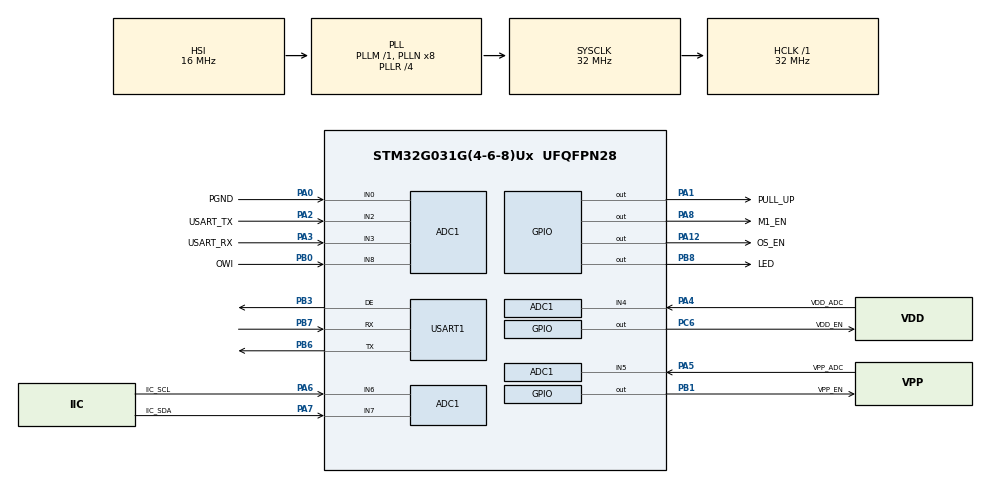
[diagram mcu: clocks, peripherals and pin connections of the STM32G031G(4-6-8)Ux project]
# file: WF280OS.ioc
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ADC1.Channel-0\#ChannelRegularConversion=ADC_CHANNEL_0
ADC1.Channel-1\#ChannelRegularConversion=ADC_CHANNEL_2
ADC1.Channel-2\#ChannelRegularConversion=ADC_CHANNEL_3
ADC1.Channel-3\#ChannelRegularConversion=ADC_CHANNEL_4
ADC1.Channel-4\#ChannelRegularConversion=ADC_CHANNEL_5
ADC1.Channel-5\#ChannelRegularConversion=ADC_CHANNEL_6
ADC1.Channel-6\#ChannelRegularConversion=ADC_CHANNEL_7
ADC1.Channel-7\#ChannelRegularConversion=ADC_CHANNEL_8
ADC1.ClockPrescaler=ADC_CLOCK_ASYNC_DIV1
ADC1.ContinuousConvMode=ENABLE
ADC1.DMAContinuousRequests=DISABLE
ADC1.NbrOfConversion=8
ADC1.NbrOfConversionFlag=1
ADC1.OversamplingMode=ENABLE
ADC1.Rank-0\#ChannelRegularConversion=1
ADC1.Rank-1\#ChannelRegularConversion=2
ADC1.Rank-2\#ChannelRegularConversion=3
ADC1.Rank-3\#ChannelRegularConversion=4
ADC1.Rank-4\#ChannelRegularConversion=5
ADC1.Rank-5\#ChannelRegularConversion=6
ADC1.Rank-6\#ChannelRegularConversion=7
ADC1.Rank-7\#ChannelRegularConversion=8
ADC1.Ratio=ADC_OVERSAMPLING_RATIO_256
ADC1.RightBitShift=ADC_RIGHTBITSHIFT_4
ADC1.SamplingTime-0\#ChannelRegularConversion=ADC_SAMPLINGTIME_COMMON_1
ADC1.SamplingTime-1\#ChannelRegularConversion=ADC_SAMPLINGTIME_COMMON_1
ADC1.SamplingTime-2\#ChannelRegularConversion=ADC_SAMPLINGTIME_COMMON_1
ADC1.SamplingTime-3\#ChannelRegularConversion=ADC_SAMPLINGTIME_COMMON_1
ADC1.SamplingTime-4\#ChannelRegularConversion=ADC_SAMPLINGTIME_COMMON_1
ADC1.SamplingTime-5\#ChannelRegularConversion=ADC_SAMPLINGTIME_COMMON_1
ADC1.SamplingTime-6\#ChannelRegularConversion=ADC_SAMPLINGTIME_COMMON_1
ADC1.SamplingTime-7\#ChannelRegularConversion=ADC_SAMPLINGTIME_COMMON_1
ADC1.SamplingTimeCommon1=ADC_SAMPLETIME_160CYCLES_5
ADC1.SamplingTimeCommon2=ADC_SAMPLETIME_160CYCLES_5
ADC1.SelectedChannel=ADC_CHANNEL_0|ADC_CHANNEL_2|ADC_CHANNEL_3|ADC_CHANNEL_4|ADC_CHANNEL_5|ADC_CHANNEL_6|ADC_CHANNEL_7|ADC_CHANNEL_8
ADC1.master=1
Dma.ADC1.0.Direction=DMA_PERIPH_TO_MEMORY
Dma.ADC1.0.EventEnable=DISABLE
Dma.ADC1.0.Instance=DMA1_Channel1
Dma.ADC1.0.MemDataAlignment=DMA_MDATAALIGN_WORD
Dma.ADC1.0.MemInc=DMA_MINC_ENABLE
Dma.ADC1.0.Mode=DMA_NORMAL
Dma.ADC1.0.PeriphDataAlignment=DMA_PDATAALIGN_WORD
Dma.ADC1.0.PeriphInc=DMA_PINC_DISABLE
Dma.ADC1.0.Polarity=HAL_DMAMUX_REQ_GEN_RISING
Dma.ADC1.0.Priority=DMA_PRIORITY_VERY_HIGH
Dma.ADC1.0.RequestNumber=1
Dma.ADC1.0.SignalID=NONE
Dma.ADC1.0.SyncEnable=DISABLE
Dma.ADC1.0.SyncPolarity=HAL_DMAMUX_SYNC_NO_EVENT
Dma.ADC1.0.SyncRequestNumber=1
Dma.ADC1.0.SyncSignalID=NONE
Dma.Request0=ADC1
FREERTOS.Tasks01=defaultTask,0,128,StartDefaultTask,Default,NULL,Dynamic,NULL,NULL;ModbusTask,-3,128,StartModbusTask,Default,NULL,Dynamic,NULL,NULL
Mcu.Family=STM32G0
Mcu.Name=STM32G031G(4-6-8)Ux
Mcu.Package=UFQFPN28
NVIC.DMA1_Channel1_IRQn=true\:3\:0\:false\:false\:true\:true\:false\:true\:true
NVIC.TIM14_IRQn=true\:3\:0\:false\:false\:true\:false\:false\:true\:true
NVIC.TIM3_IRQn=true\:3\:0\:false\:false\:true\:true\:true\:true\:true
NVIC.TimeBase=TIM14_IRQn
NVIC.TimeBaseIP=TIM14
NVIC.USART1_IRQn=true\:3\:0\:false\:false\:true\:true\:true\:true\:true
PA0.GPIO_Label=PGND
PA0.Mode=IN0
PA0.Signal=ADC1_IN0
PA1.GPIO_Label=PULL_UP
PA1.Signal=GPIO_Output
PA12\ [PA10].GPIO_Label=OS_EN
PA12\ [PA10].Signal=GPIO_Output
PA13.Mode=Serial_Wire
PA13.Signal=SYS_SWDIO
PA14-BOOT0.Mode=Serial_Wire
PA14-BOOT0.Signal=SYS_SWCLK
PA2.GPIO_Label=USART_TX
PA2.Mode=IN2
PA2.Signal=ADC1_IN2
PA3.GPIO_Label=USART_RX
PA3.Mode=IN3
PA3.Signal=ADC1_IN3
PA4.GPIO_Label=VDD_ADC
PA4.Mode=IN4
PA4.Signal=ADC1_IN4
PA5.GPIO_Label=VPP_ADC
PA5.Mode=IN5
PA5.Signal=ADC1_IN5
PA6.GPIO_Label=IIC_SCL
PA6.Mode=IN6
PA6.Signal=ADC1_IN6
PA7.GPIO_Label=IIC_SDA
PA7.Mode=IN7
PA7.Signal=ADC1_IN7
PA8.GPIO_Label=M1_EN
PA8.GPIO_ModeDefaultOutputPP=GPIO_MODE_OUTPUT_OD
PA8.GPIO_PuPd=GPIO_NOPULL
PA8.Signal=GPIO_Output
PB0.GPIO_Label=OWI
PB0.Mode=IN8
PB0.Signal=ADC1_IN8
PB1.GPIO_Label=VPP_EN
PB1.Signal=GPIO_Output
PB3.Mode=Hardware Flow Control (RS485)
PB3.Signal=USART1_DE
PB6.Mode=Asynchronous
PB6.Signal=USART1_TX
PB7.Mode=Asynchronous
PB7.Signal=USART1_RX
PB8.GPIO_Label=LED
PB8.Signal=GPIO_Output
PC6.GPIO_Label=VDD_EN
PC6.Signal=GPIO_Output
ProjectManager.HeapSize=0x200
ProjectManager.StackSize=0x400
ProjectManager.TargetToolchain=MDK-ARM V5.32
RCC.ADCFreq_Value=32000000
RCC.AHBFreq_Value=32000000
RCC.CortexFreq_Value=32000000
RCC.EXTERNAL_CLOCK_VALUE=12288000
RCC.HCLKFreq_Value=32000000
RCC.HSE_VALUE=8000000
RCC.HSI_VALUE=16000000
RCC.LSE_VALUE=32768
RCC.PLLP=RCC_PLLP_DIV4
RCC.PLLQ=RCC_PLLQ_DIV4
RCC.PLLR=RCC_PLLR_DIV4
RCC.SYSCLKFreq_VALUE=32000000
RCC.SYSCLKSource=RCC_SYSCLKSOURCE_PLLCLK
RCC.VCOOutputFreq_Value=128000000
TIM1.Prescaler=64-1
TIM2.Prescaler=64-1
TIM3.Prescaler=64-1
USART1.VirtualMode-Asynchronous=VM_ASYNC
USART1.VirtualMode-Hardware\ Flow\ Control\ (RS485)=VM_ASYNC
VP_FREERTOS_VS_CMSIS_V1.Mode=CMSIS_V1
VP_SYS_VS_tim14.Mode=TIM14
VP_TIM1_VS_ClockSourceINT.Mode=Internal
VP_TIM2_VS_ClockSourceINT.Mode=Internal
VP_TIM3_VS_ClockSourceINT.Mode=Internal
board=custom

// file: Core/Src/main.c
/* USER CODE BEGIN Header */
/**
  ******************************************************************************
  * @file           : main.c
  * @brief          : Main program body
  ******************************************************************************
  * @attention
  *
  * Copyright (c) 2026 STMicroelectronics.
  * All rights reserved.
  *
  * This software is licensed under terms that can be found in the LICENSE file
  * in the root directory of this software component.
  * If no LICENSE file comes with this software, it is provided AS-IS.
  *
  ******************************************************************************
  */
/* USER CODE END Header */
#include "main.h"
#include "cmsis_os.h"
#include "adc.h"
#include "dma.h"
#include "tim.h"
#include "usart.h"
#include "gpio.h"

void SystemClock_Config(void);
void MX_FREERTOS_Init(void);

int main(void)
{

  /* MCU Configuration--------------------------------------------------------*/

  /* Reset of all peripherals, Initializes the Flash interface and the Systick. */
  HAL_Init();

  /* Configure the system clock */
  SystemClock_Config();

  /* Initialize all configured peripherals */
  MX_GPIO_Init();
  MX_DMA_Init();
  MX_ADC1_Init();
  MX_USART1_UART_Init();
  MX_TIM1_Init();
  MX_TIM2_Init();
  MX_TIM3_Init();
  /* USER CODE BEGIN 2 */
	HAL_ADCEx_Calibration_Start(&hadc1);
  /* USER CODE END 2 */

  /* Call init function for freertos objects (in cmsis_os2.c) */
  MX_FREERTOS_Init();

  /* Start scheduler */
  osKernelStart();

  /* We should never get here as control is now taken by the scheduler */

  /* Infinite loop */
  while (1)
  {

  }
}

void SystemClock_Config(void)
{
  RCC_OscInitTypeDef RCC_OscInitStruct = {0};
  RCC_ClkInitTypeDef RCC_ClkInitStruct = {0};

  /** Configure the main internal regulator output voltage
  */
  HAL_PWREx_ControlVoltageScaling(PWR_REGULATOR_VOLTAGE_SCALE1);

  /** Initializes the RCC Oscillators according to the specified parameters
  * in the RCC_OscInitTypeDef structure.
  */
  RCC_OscInitStruct.OscillatorType = RCC_OSCILLATORTYPE_HSI;
  RCC_OscInitStruct.HSIState = RCC_HSI_ON;
  RCC_OscInitStruct.HSIDiv = RCC_HSI_DIV1;
  RCC_OscInitStruct.HSICalibrationValue = RCC_HSICALIBRATION_DEFAULT;
  RCC_OscInitStruct.PLL.PLLState = RCC_PLL_ON;
  RCC_OscInitStruct.PLL.PLLSource = RCC_PLLSOURCE_HSI;
  RCC_OscInitStruct.PLL.PLLM = RCC_PLLM_DIV1;
  RCC_OscInitStruct.PLL.PLLN = 8;
  RCC_OscInitStruct.PLL.PLLP = RCC_PLLP_DIV4;
  RCC_OscInitStruct.PLL.PLLQ = RCC_PLLQ_DIV4;
  RCC_OscInitStruct.PLL.PLLR = RCC_PLLR_DIV4;
  if (HAL_RCC_OscConfig(&RCC_OscInitStruct) != HAL_OK)
  {
    Error_Handler();
  }

  /** Initializes the CPU, AHB and APB buses clocks
  */
  RCC_ClkInitStruct.ClockType = RCC_CLOCKTYPE_HCLK|RCC_CLOCKTYPE_SYSCLK
                              |RCC_CLOCKTYPE_PCLK1;
  RCC_ClkInitStruct.SYSCLKSource = RCC_SYSCLKSOURCE_PLLCLK;
  RCC_ClkInitStruct.AHBCLKDivider = RCC_SYSCLK_DIV1;
  RCC_ClkInitStruct.APB1CLKDivider = RCC_HCLK_DIV1;

  if (HAL_RCC_ClockConfig(&RCC_ClkInitStruct, FLASH_LATENCY_1) != HAL_OK)
  {
    Error_Handler();
  }
}

void HAL_TIM_PeriodElapsedCallback(TIM_HandleTypeDef *htim)
{
  if (htim->Instance == TIM14)
  {
    HAL_IncTick();
  }
}

void Error_Handler(void)
{
  __disable_irq();
  while (1)
  {
  }
}

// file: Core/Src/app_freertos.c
/* USER CODE BEGIN Header */
/**
  ******************************************************************************
  * File Name          : app_freertos.c
  * Description        : Code for freertos applications
  ******************************************************************************
  * @attention
  *
  * Copyright (c) 2026 STMicroelectronics.
  * All rights reserved.
  *
  * This software is licensed under terms that can be found in the LICENSE file
  * in the root directory of this software component.
  * If no LICENSE file comes with this software, it is provided AS-IS.
  *
  ******************************************************************************
  */
/* USER CODE END Header */

#include "FreeRTOS.h"
#include "task.h"
#include "main.h"
#include "cmsis_os.h"

/* USER CODE BEGIN Includes */
#include "usart.h"
#include "stdio.h"
#include "mb.h"
#include "mbutils.h"
#include <string.h>
#include "CmdHelper.h"
#include "flash.h"
#include "SoftIIC.h"
#include "tim.h"
/* USER CODE END Includes */

osThreadId defaultTaskHandle;
osThreadId ModbusTaskHandle;

void StartDefaultTask(void const * argument);
void StartModbusTask(void const * argument);

void MX_FREERTOS_Init(void); /* (MISRA C 2004 rule 8.1) */

void MX_FREERTOS_Init(void) {

  /* Create the thread(s) */
  /* definition and creation of defaultTask */
  osThreadDef(defaultTask, StartDefaultTask, osPriorityNormal, 0, 128);
  defaultTaskHandle = osThreadCreate(osThread(defaultTask), NULL);

  /* definition and creation of ModbusTask */
  osThreadDef(ModbusTask, StartModbusTask, osPriorityIdle, 0, 128);
  ModbusTaskHandle = osThreadCreate(osThread(ModbusTask), NULL);

}

void StartDefaultTask(void const * argument)
{
  /* USER CODE BEGIN StartDefaultTask */
  /* Infinite loop */
  for(;;)
  {
		HAL_GPIO_TogglePin(LED_GPIO_Port,LED_Pin);
    osDelay(500);
  }
  /* USER CODE END StartDefaultTask */
}

void StartModbusTask(void const * argument)
{
  /* USER CODE BEGIN StartModbusTask */
	HAL_TIM_Base_Start(&htim1);
  HAL_GPIO_WritePin(OS_EN_GPIO_Port,OS_EN_Pin,GPIO_PIN_SET);
	eMBInit(MB_RTU, 1, 1, 115200, MB_PAR_NONE);
	eMBEnable();
  /* Infinite loop */
  for(;;)
  {
		eMBPoll();
    osDelay(1);
  }
  /* USER CODE END StartModbusTask */
}
